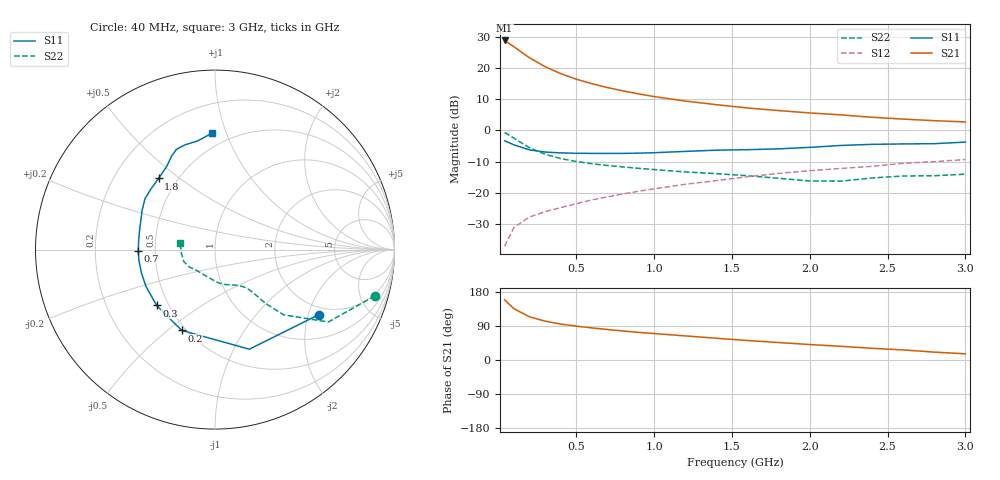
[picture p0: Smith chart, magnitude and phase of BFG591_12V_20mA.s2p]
! Filename:  BFG591B.S2P  Version:  4.0
! Philips part #: BFG591  Date: Jun 1994
! Bias condition: Vce=12V; Ic=20mA
#  MHz  S  MA  R  50
! Freq  S11  S21  S12  S22  !GUM [dB]
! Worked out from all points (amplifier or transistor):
!   21 points, 40 MHz to 3 GHz, reference 50 ohm
!   highest |S21| = 28.8 dB at 40 MHz (marker M1)
!   |S21| within 3 dB of that: start of sweep to 127.8 MHz
!   unconditionally stable (mu >= 1): 701.4 MHz to 2.191 GHz
!   at 300 MHz: K = 0.71, MSG = 23.2 dB, |S12| = -26.0 dB
!   at 1 GHz: K = 1.06, MAG = 13.3 dB, |S12| = -18.7 dB
!   at 3 GHz: K = 0.95, MSG = 6.0 dB, |S12| = -9.3 dB
!   S11 on the Smith chart (normalised r, x): 40 MHz: 1.73, -2.35; 200 MHz: 0.47, -0.56; 300 MHz: 0.43, -0.34; 700 MHz: 0.40, -0.01; 1.8 GHz: 0.39, +0.42; 3 GHz: 0.40, +0.89
40  0.683 -32.0  27.55 158.7  0.014 75.1  0.928 -16.1
100  0.587 -71.0  21.85 135.3  0.028 62.6  0.749 -32.6
200  0.487 -112.4  14.52 114.0  0.041 55.9  0.528 -43.5
300  0.45 -136.3  10.48 102.5  0.05 56.1  0.415 -46.7
400  0.436 -151.9  8.113 94.9  0.058 58.1  0.354 -47.7
500  0.43 -163.0  6.606 89.4  0.067 60.2  0.318 -48.6
600  0.428 -171.9  5.598 84.7  0.077 61.7  0.293 -49.6
700  0.428 -179.3  4.855 80.5  0.086 63.1  0.274 -51.0
800  0.428 173.8  4.294 76.6  0.096 63.9  0.26 -52.8
900  0.432 167.3  3.845 72.9  0.106 64.7  0.247 -55.1
1000  0.439 161.4  3.48 69.8  0.116 65.1  0.236 -57.9
1200  0.461 151.8  2.948 63.6  0.137 65.1  0.216 -65.2
1400  0.482 144.1  2.581 57.4  0.157 64.3  0.203 -73.6
1600  0.491 136.9  2.285 51.4  0.181 64.2  0.188 -82.6
1800  0.506 128.4  2.077 46.1  0.205 61.7  0.171 -93.0
2000  0.535 120.3  1.904 40.8  0.226 60.6  0.155 -109.9
2200  0.574 114.9  1.772 36.1  0.246 58.8  0.154 -129.9
2400  0.598 111.1  1.622 30.9  0.266 58.3  0.173 -146.1
2600  0.607 106.1  1.517 26.6  0.297 54.9  0.186 -159.0
2800  0.613 99.1  1.431 20.8  0.316 51.0  0.188 -173.1
3000  0.649 91.5  1.365 16.3  0.342 49.8  0.199 168.7
